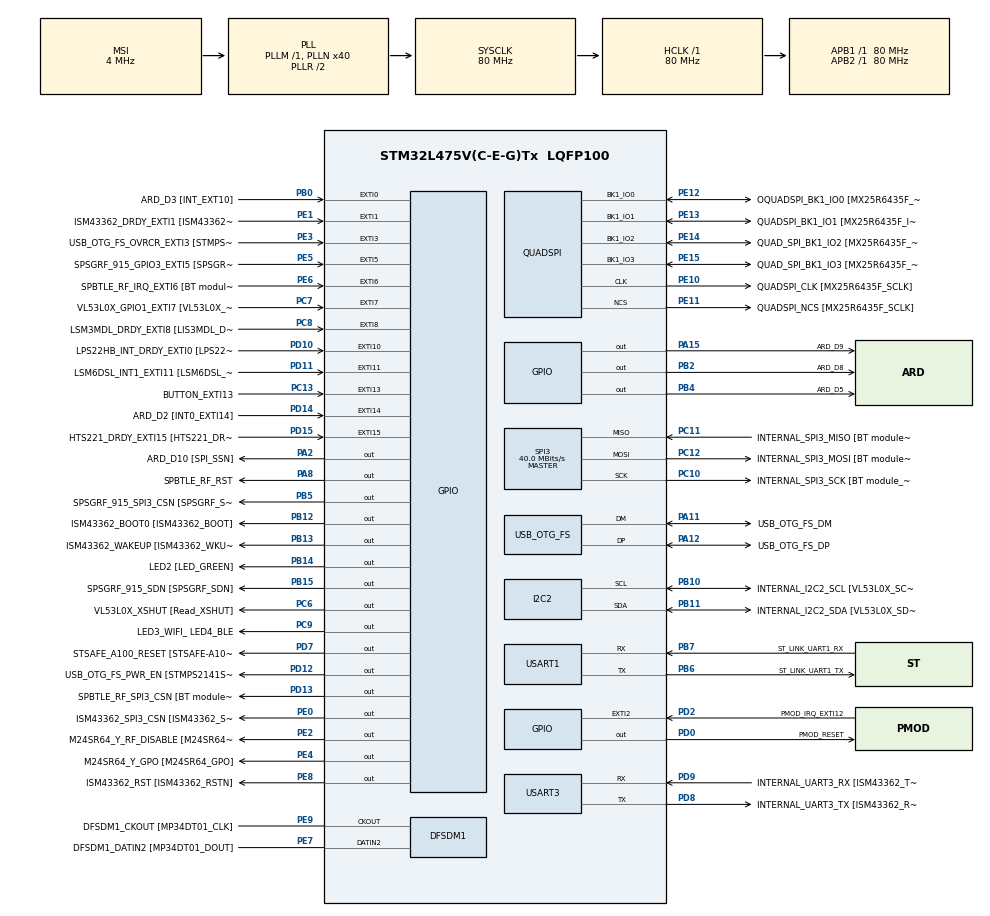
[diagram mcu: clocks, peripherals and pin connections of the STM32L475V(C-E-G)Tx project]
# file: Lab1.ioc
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FREERTOS.Tasks01=defaultTask,24,128,StartDefaultTask,Default,NULL,Dynamic,NULL,NULL;myTask02,24,128,StartTask02,Default,NULL,Dynamic,NULL,NULL
I2C2.Timing=0x10D19CE4
Mcu.Family=STM32L4
Mcu.Name=STM32L475V(C-E-G)Tx
Mcu.Package=LQFP100
NVIC.EXTI15_10_IRQn=true\:5\:0\:false\:false\:true\:true\:true\:true\:true
NVIC.EXTI9_5_IRQn=true\:5\:0\:false\:false\:true\:true\:true\:true\:true
NVIC.PriorityGroup=NVIC_PRIORITYGROUP_4
NVIC.TIM6_DAC_IRQn=true\:5\:0\:false\:false\:true\:true\:true\:true\:true
PA0.GPIO_Label=ARD_D1 [UART4_TX]
PA0.Signal=UART4_TX
PA1.GPIO_Label=ARD_D0 [UART4_RX]
PA1.Signal=UART4_RX
PA10.GPIO_Label=USB_OTG_FS_ID
PA10.Signal=USB_OTG_FS_ID
PA11.GPIO_Label=USB_OTG_FS_DM
PA11.Mode=Device_Only
PA11.Signal=USB_OTG_FS_DM
PA12.GPIO_Label=USB_OTG_FS_DP
PA12.Mode=Device_Only
PA12.Signal=USB_OTG_FS_DP
PA13\ (JTMS-SWDIO).GPIO_Label=SYS_JTMS_SWDIO
PA13\ (JTMS-SWDIO).Mode=Serial_Wire
PA13\ (JTMS-SWDIO).Signal=SYS_JTMS-SWDIO
PA14\ (JTCK-SWCLK).GPIO_Label=SYS_JTCK_SWCLK
PA14\ (JTCK-SWCLK).Mode=Serial_Wire
PA14\ (JTCK-SWCLK).Signal=SYS_JTCK-SWCLK
PA15\ (JTDI).GPIO_Label=ARD_D9
PA15\ (JTDI).Signal=GPIO_Output
PA2.GPIO_Label=ARD_D10 [SPI_SSN]
PA2.Signal=GPIO_Output
PA3.GPIO_Label=ARD_D4
PA3.Signal=S_TIM2_CH4
PA4.GPIO_Label=ARD_D7
PA4.Signal=ADCx_IN9
PA5.GPIO_Label=ARD_D13 [SPI1_SCK]
PA5.Signal=SPI1_SCK
PA6.GPIO_Label=ARD_D12 [SPI1_MISO]
PA6.Signal=SPI1_MISO
PA7.GPIO_Label=ARD_D11 [SPI1_MOSI]
PA7.Signal=SPI1_MOSI
PA8.GPIO_Label=SPBTLE_RF_RST
PA8.Signal=GPIO_Output
PA9.GPIO_Label=USB_OTG_FS_VBUS [STMPS2141STR_OUT]
PA9.Signal=USB_OTG_FS_VBUS
PB0.GPIO_Label=ARD_D3 [INT_EXT10]
PB0.Signal=GPXTI0
PB1.GPIO_Label=ARD_D6 [ADC1_IN6]
PB1.Signal=ADCx_IN16
PB10.GPIO_Label=INTERNAL_I2C2_SCL [VL53L0X_SCL]
PB10.GPIO_Pu=GPIO_PULLUP
PB10.Mode=I2C
PB10.Signal=I2C2_SCL
PB11.GPIO_Label=INTERNAL_I2C2_SDA [VL53L0X_SDA]
PB11.GPIO_Pu=GPIO_PULLUP
PB11.Mode=I2C
PB11.Signal=I2C2_SDA
PB12.GPIO_Label=ISM43362_BOOT0 [ISM43362_BOOT]
PB12.Signal=GPIO_Output
PB13.GPIO_Label=ISM43362_WAKEUP [ISM43362_WKUP]
PB13.Signal=GPIO_Output
PB14.GPIO_Label=LED2 [LED_GREEN]
PB14.Signal=GPIO_Output
PB15.GPIO_Label=SPSGRF_915_SDN [SPSGRF_SDN]
PB15.Signal=GPIO_Output
PB2.GPIO_Label=ARD_D8
PB2.Signal=GPIO_Output
PB3\ (JTDO-TRACESWO).GPIO_Label=SYS_JTD0_SWO
PB3\ (JTDO-TRACESWO).Signal=SYS_JTDO-SWO
PB4\ (NJTRST).GPIO_Label=ARD_D5
PB4\ (NJTRST).Signal=GPIO_Output
PB5.GPIO_Label=SPSGRF_915_SPI3_CSN [SPSGRF_SPI_CS]
PB5.PinState=GPIO_PIN_SET
PB5.Signal=GPIO_Output
PB6.GPIO_Label=ST_LINK_UART1_TX
PB6.Mode=Asynchronous
PB6.Signal=USART1_TX
PB7.GPIO_Label=ST_LINK_UART1_RX
PB7.Mode=Asynchronous
PB7.Signal=USART1_RX
PB8.GPIO_Label=ARD_D15 [I2C1_SCL]
PB8.Signal=I2C1_SCL
PB9.GPIO_Label=ARD_D14 [I2C1_SDA]
PB9.Signal=I2C1_SDA
PC0.GPIO_Label=ARD_A5 [ADC]
PC0.Signal=ADCx_IN1
PC1.GPIO_Label=ARD_A4 [ADC]
PC1.Signal=ADCx_IN2
PC10.GPIO_Label=INTERNAL_SPI3_SCK [BT module_SPI_SCLK] [ISM43362_SCK]
PC10.Mode=Full_Duplex_Master
PC10.Signal=SPI3_SCK
PC11.GPIO_Label=INTERNAL_SPI3_MISO [BT module_SPI_MISO] [ISM43362_MISO]
PC11.Mode=Full_Duplex_Master
PC11.Signal=SPI3_MISO
PC12.GPIO_Label=INTERNAL_SPI3_MOSI [BT module_SPI_MOSI] [ISM43362_MOSI]
PC12.Mode=Full_Duplex_Master
PC12.Signal=SPI3_MOSI
PC13.GPIO_Label=BUTTON_EXTI13
PC13.GPIO_ModeDefaultEXTI=GPIO_MODE_IT_RISING_FALLING
PC13.Signal=GPXTI13
PC14-OSC32_IN\ (PC14).Mode=LSE-External-Oscillator
PC14-OSC32_IN\ (PC14).Signal=RCC_OSC32_IN
PC15-OSC32_OUT\ (PC15).Mode=LSE-External-Oscillator
PC15-OSC32_OUT\ (PC15).Signal=RCC_OSC32_OUT
PC2.GPIO_Label=ARD_A3 [ADC]
PC2.Signal=ADCx_IN3
PC3.GPIO_Label=ARD_A2 [ADC]
PC3.Signal=ADCx_IN4
PC4.GPIO_Label=ARD_A1 [ADC]
PC4.Signal=ADCx_IN13
PC5.GPIO_Label=ARD_A0 [ADC]
PC5.Signal=ADCx_IN14
PC6.GPIO_Label=VL53L0X_XSHUT [Read_XSHUT]
PC6.Signal=GPIO_Output
PC7.GPIO_Label=VL53L0X_GPIO1_EXTI7 [VL53L0X_GPIO1]
PC7.Signal=GPXTI7
PC8.GPIO_Label=LSM3MDL_DRDY_EXTI8 [LIS3MDL_DRDY]
PC8.Signal=GPXTI8
PC9.GPIO_Label=LED3_WIFI_ LED4_BLE
PC9.Signal=GPIO_Output
PD0.GPIO_Label=PMOD_RESET
PD0.Signal=GPIO_Output
PD1.GPIO_Label=PMOD_SPI2_SCK
PD1.Signal=SPI2_SCK
PD10.GPIO_Label=LPS22HB_INT_DRDY_EXTI0 [LPS22HB_INT_DRDY] 
PD10.Signal=GPXTI10
PD11.GPIO_Label=LSM6DSL_INT1_EXTI11 [LSM6DSL_INT1]
PD11.Signal=GPXTI11
PD12.GPIO_Label=USB_OTG_FS_PWR_EN [STMPS2141STR_EN]
PD12.Signal=GPIO_Output
PD13.GPIO_Label=SPBTLE_RF_SPI3_CSN [BT module_SPI_CS]
PD13.PinState=GPIO_PIN_SET
PD13.Signal=GPIO_Output
PD14.GPIO_Label=ARD_D2 [INT0_EXTI14]
PD14.Signal=GPXTI14
PD15.GPIO_Label=HTS221_DRDY_EXTI15 [HTS221_DRDY]
PD15.Signal=GPXTI15
PD2.GPIO_Label=PMOD_IRQ_EXTI12
PD2.Signal=GPXTI2
PD3.GPIO_Label=PMOD_UART2_CTS
PD3.Signal=USART2_CTS
PD4.GPIO_Label=PMOD_UART2_RTS
PD4.Signal=USART2_RTS
PD5.GPIO_Label=PMOD_UART2_TX
PD5.Signal=USART2_TX
PD6.GPIO_Label=PMOD_UART2_RX
PD6.Signal=USART2_RX
PD7.GPIO_Label=STSAFE_A100_RESET [STSAFE-A100_RESET]
PD7.Signal=GPIO_Output
PD8.GPIO_Label=INTERNAL_UART3_TX [ISM43362_RX]
PD8.Mode=Asynchronous
PD8.Signal=USART3_TX
PD9.GPIO_Label=INTERNAL_UART3_RX [ISM43362_TX]
PD9.Mode=Asynchronous
PD9.Signal=USART3_RX
PE0.GPIO_Label=ISM43362_SPI3_CSN [ISM43362_SSN]
PE0.PinState=GPIO_PIN_SET
PE0.Signal=GPIO_Output
PE1.GPIO_Label=ISM43362_DRDY_EXTI1 [ISM43362_DATARDY]
PE1.Signal=GPXTI1
PE10.GPIO_Label=QUADSPI_CLK [MX25R6435F_SCLK]
PE10.Mode=Single Bank
PE10.Signal=QUADSPI_CLK
PE11.GPIO_Label=QUADSPI_NCS [MX25R6435F_SCLK]
PE11.Mode=Single Bank
PE11.Signal=QUADSPI_NCS
PE12.GPIO_Label=OQUADSPI_BK1_IO0 [MX25R6435F_IO0]
PE12.Mode=Single Bank
PE12.Signal=QUADSPI_BK1_IO0
PE13.GPIO_Label=QUADSPI_BK1_IO1 [MX25R6435F_IO1]
PE13.Mode=Single Bank
PE13.Signal=QUADSPI_BK1_IO1
PE14.GPIO_Label=QUAD_SPI_BK1_IO2 [MX25R6435F_IO2]
PE14.Mode=Single Bank
PE14.Signal=QUADSPI_BK1_IO2
PE15.GPIO_Label=QUAD_SPI_BK1_IO3 [MX25R6435F_IO3]
PE15.Mode=Single Bank
PE15.Signal=QUADSPI_BK1_IO3
PE2.GPIO_Label=M24SR64_Y_RF_DISABLE [M24SR64_RFDIS]
PE2.Signal=GPIO_Output
PE3.GPIO_Label=USB_OTG_FS_OVRCR_EXTI3 [STMPS2141STR_FAULT]
PE3.Signal=GPXTI3
PE4.GPIO_Label=M24SR64_Y_GPO [M24SR64_GPO]
PE4.Signal=GPIO_Output
PE5.GPIO_Label=SPSGRF_915_GPIO3_EXTI5 [SPSGRF_GPIO_3]
PE5.Signal=GPXTI5
PE6.GPIO_Label=SPBTLE_RF_IRQ_EXTI6 [BT module_SPI_IRQ]
PE6.Signal=GPXTI6
PE7.GPIO_Label=DFSDM1_DATIN2 [MP34DT01_DOUT]
PE7.Signal=S_DATAIN2DFSDM1
PE8.GPIO_Label=ISM43362_RST [ISM43362_RSTN]
PE8.Signal=GPIO_Output
PE9.GPIO_Label=DFSDM1_CKOUT [MP34DT01_CLK]
PE9.Signal=S_CKOUTDFSDM1
ProjectManager.HeapSize=0x200
ProjectManager.StackSize=0x400
ProjectManager.TargetToolchain=STM32CubeIDE
QUADSPI.ClockPrescaler=2
QUADSPI.FifoThreshold=4
QUADSPI.FlashSize=23
QUADSPI.SampleShifting=QSPI_SAMPLE_SHIFTING_HALFCYCLE
RCC.ADCFreq_Value=48000000
RCC.AHBFreq_Value=80000000
RCC.APB1Freq_Value=80000000
RCC.APB1TimFreq_Value=80000000
RCC.APB2Freq_Value=80000000
RCC.APB2TimFreq_Value=80000000
RCC.CortexFreq_Value=80000000
RCC.HCLKFreq_Value=80000000
RCC.HSE_VALUE=8000000
RCC.HSI_VALUE=16000000
RCC.MSI_VALUE=4000000
RCC.PLLN=40
RCC.PLLSAI1N=24
RCC.SYSCLKFreq_VALUE=80000000
RCC.SYSCLKSource=RCC_SYSCLKSOURCE_PLLCLK
RCC.USBFreq_Value=48000000
RCC.VCOOutputFreq_Value=160000000
SH.ADCx_IN1.0=ADC1_IN1
SH.ADCx_IN13.0=ADC1_IN13
SH.ADCx_IN14.0=ADC1_IN14
SH.ADCx_IN16.0=ADC1_IN16
SH.ADCx_IN2.0=ADC1_IN2
SH.ADCx_IN3.0=ADC1_IN3
SH.ADCx_IN4.0=ADC1_IN4
SH.ADCx_IN9.0=ADC1_IN9
SH.S_CKOUTDFSDM1.0=DFSDM1_CKOUT,CKOUT
SH.S_CKOUTDFSDM1.1=DFSDM1_CKOUT,PDM_SPI_Input_from_ch12_and_Internal_Clock
SH.S_DATAIN2DFSDM1.0=DFSDM1_DATIN2,PDM_SPI_Input_from_ch12_and_Internal_Clock
SH.S_TIM2_CH4.0=TIM2_CH4
SPI3.CalculateBaudRate=40.0 MBits/s
SPI3.Direction=SPI_DIRECTION_2LINES
SPI3.Mode=SPI_MODE_MASTER
SPI3.VirtualType=VM_MASTER
TIM6.AutoReloadPreload=TIM_AUTORELOAD_PRELOAD_ENABLE
TIM6.Period=19999
TIM6.Prescaler=39999
USART1.VirtualMode-Asynchronous=VM_ASYNC
USART3.VirtualMode-Asynchronous=VM_ASYNC
USB_OTG_FS.VirtualMode=Device_Only
VP_FREERTOS_VS_CMSIS_V2.Mode=CMSIS_V2
VP_TIM6_VS_ClockSourceINT.Mode=Enable_Timer
board=B-L475E-IOT01A2

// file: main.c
/* USER CODE BEGIN Header */
/**
  ******************************************************************************
  * @file           : main.c
  * @brief          : Main program body
  ******************************************************************************
  * @attention
  *
  * Copyright (c) 2024 STMicroelectronics.
  * All rights reserved.
  *
  * This software is licensed under terms that can be found in the LICENSE file
  * in the root directory of this software component.
  * If no LICENSE file comes with this software, it is provided AS-IS.
  *
  ******************************************************************************
  */
/* USER CODE END Header */
#include "main.h"
#include "cmsis_os.h"

DFSDM_Channel_HandleTypeDef hdfsdm1_channel1;

I2C_HandleTypeDef hi2c2;

QSPI_HandleTypeDef hqspi;

SPI_HandleTypeDef hspi3;

TIM_HandleTypeDef htim6;

UART_HandleTypeDef huart1;
UART_HandleTypeDef huart3;

PCD_HandleTypeDef hpcd_USB_OTG_FS;

/* Definitions for defaultTask */
osThreadId_t defaultTaskHandle;
const osThreadAttr_t defaultTask_attributes = {
  .name = "defaultTask",
  .stack_size = 128 * 4,
  .priority = (osPriority_t) osPriorityNormal,
};
/* Definitions for myTask02 */
osThreadId_t myTask02Handle;
const osThreadAttr_t myTask02_attributes = {
  .name = "myTask02",
  .stack_size = 128 * 4,
  .priority = (osPriority_t) osPriorityNormal,
};
/* USER CODE BEGIN PV */
osSemaphoreId s_id, t_id, s2_id, wait_id;
osMutexId_t m_id;
/* USER CODE END PV */

void SystemClock_Config(void);
static void MX_GPIO_Init(void);
static void MX_DFSDM1_Init(void);
static void MX_I2C2_Init(void);
static void MX_QUADSPI_Init(void);
static void MX_SPI3_Init(void);
static void MX_USART1_UART_Init(void);
static void MX_USART3_UART_Init(void);
static void MX_USB_OTG_FS_PCD_Init(void);
static void MX_TIM6_Init(void);
void StartDefaultTask(void *argument);
void StartTask02(void *argument);

int main(void)
{

  /* MCU Configuration--------------------------------------------------------*/

  /* Reset of all peripherals, Initializes the Flash interface and the Systick. */
  HAL_Init();

  /* Configure the system clock */
  SystemClock_Config();

  /* Initialize all configured peripherals */
  MX_GPIO_Init();
  MX_DFSDM1_Init();
  MX_I2C2_Init();
  MX_QUADSPI_Init();
  MX_SPI3_Init();
  MX_USART1_UART_Init();
  MX_USART3_UART_Init();
  MX_USB_OTG_FS_PCD_Init();
  MX_TIM6_Init();

  /* Init scheduler */
  osKernelInitialize();

  /* USER CODE BEGIN RTOS_MUTEX */
  /* add mutexes, ... */
  m_id = osMutexNew(NULL);
  /* USER CODE END RTOS_MUTEX */

  /* USER CODE BEGIN RTOS_SEMAPHORES */
  /* add semaphores, ... */
  s_id = osSemaphoreNew(1,0,NULL);
  t_id = osSemaphoreNew(1,0,NULL);
  s2_id = osSemaphoreNew(1,0,NULL);
  /* USER CODE END RTOS_SEMAPHORES */

  /* Create the thread(s) */
  /* creation of defaultTask */
  defaultTaskHandle = osThreadNew(StartDefaultTask, NULL, &defaultTask_attributes);

  /* creation of myTask02 */
  myTask02Handle = osThreadNew(StartTask02, NULL, &myTask02_attributes);

  /* Start scheduler */
  osKernelStart();

  /* We should never get here as control is now taken by the scheduler */

  /* Infinite loop */
  while (1)
  {

  }
}

void SystemClock_Config(void)
{
  RCC_OscInitTypeDef RCC_OscInitStruct = {0};
  RCC_ClkInitTypeDef RCC_ClkInitStruct = {0};

  /** Configure the main internal regulator output voltage
  */
  if (HAL_PWREx_ControlVoltageScaling(PWR_REGULATOR_VOLTAGE_SCALE1) != HAL_OK)
  {
    Error_Handler();
  }

  /** Configure LSE Drive Capability
  */
  HAL_PWR_EnableBkUpAccess();
  __HAL_RCC_LSEDRIVE_CONFIG(RCC_LSEDRIVE_LOW);

  /** Initializes the RCC Oscillators according to the specified parameters
  * in the RCC_OscInitTypeDef structure.
  */
  RCC_OscInitStruct.OscillatorType = RCC_OSCILLATORTYPE_LSE|RCC_OSCILLATORTYPE_MSI;
  RCC_OscInitStruct.LSEState = RCC_LSE_ON;
  RCC_OscInitStruct.MSIState = RCC_MSI_ON;
  RCC_OscInitStruct.MSICalibrationValue = 0;
  RCC_OscInitStruct.MSIClockRange = RCC_MSIRANGE_6;
  RCC_OscInitStruct.PLL.PLLState = RCC_PLL_ON;
  RCC_OscInitStruct.PLL.PLLSource = RCC_PLLSOURCE_MSI;
  RCC_OscInitStruct.PLL.PLLM = 1;
  RCC_OscInitStruct.PLL.PLLN = 40;
  RCC_OscInitStruct.PLL.PLLP = RCC_PLLP_DIV7;
  RCC_OscInitStruct.PLL.PLLQ = RCC_PLLQ_DIV2;
  RCC_OscInitStruct.PLL.PLLR = RCC_PLLR_DIV2;
  if (HAL_RCC_OscConfig(&RCC_OscInitStruct) != HAL_OK)
  {
    Error_Handler();
  }

  /** Initializes the CPU, AHB and APB buses clocks
  */
  RCC_ClkInitStruct.ClockType = RCC_CLOCKTYPE_HCLK|RCC_CLOCKTYPE_SYSCLK
                              |RCC_CLOCKTYPE_PCLK1|RCC_CLOCKTYPE_PCLK2;
  RCC_ClkInitStruct.SYSCLKSource = RCC_SYSCLKSOURCE_PLLCLK;
  RCC_ClkInitStruct.AHBCLKDivider = RCC_SYSCLK_DIV1;
  RCC_ClkInitStruct.APB1CLKDivider = RCC_HCLK_DIV1;
  RCC_ClkInitStruct.APB2CLKDivider = RCC_HCLK_DIV1;

  if (HAL_RCC_ClockConfig(&RCC_ClkInitStruct, FLASH_LATENCY_4) != HAL_OK)
  {
    Error_Handler();
  }

  /** Enable MSI Auto calibration
  */
  HAL_RCCEx_EnableMSIPLLMode();
}

static void MX_DFSDM1_Init(void)
{

  hdfsdm1_channel1.Instance = DFSDM1_Channel1;
  hdfsdm1_channel1.Init.OutputClock.Activation = ENABLE;
  hdfsdm1_channel1.Init.OutputClock.Selection = DFSDM_CHANNEL_OUTPUT_CLOCK_SYSTEM;
  hdfsdm1_channel1.Init.OutputClock.Divider = 2;
  hdfsdm1_channel1.Init.Input.Multiplexer = DFSDM_CHANNEL_EXTERNAL_INPUTS;
  hdfsdm1_channel1.Init.Input.DataPacking = DFSDM_CHANNEL_STANDARD_MODE;
  hdfsdm1_channel1.Init.Input.Pins = DFSDM_CHANNEL_FOLLOWING_CHANNEL_PINS;
  hdfsdm1_channel1.Init.SerialInterface.Type = DFSDM_CHANNEL_SPI_RISING;
  hdfsdm1_channel1.Init.SerialInterface.SpiClock = DFSDM_CHANNEL_SPI_CLOCK_INTERNAL;
  hdfsdm1_channel1.Init.Awd.FilterOrder = DFSDM_CHANNEL_FASTSINC_ORDER;
  hdfsdm1_channel1.Init.Awd.Oversampling = 1;
  hdfsdm1_channel1.Init.Offset = 0;
  hdfsdm1_channel1.Init.RightBitShift = 0x00;
  if (HAL_DFSDM_ChannelInit(&hdfsdm1_channel1) != HAL_OK)
  {
    Error_Handler();
  }

}

static void MX_I2C2_Init(void)
{

  hi2c2.Instance = I2C2;
  hi2c2.Init.Timing = 0x10D19CE4;
  hi2c2.Init.OwnAddress1 = 0;
  hi2c2.Init.AddressingMode = I2C_ADDRESSINGMODE_7BIT;
  hi2c2.Init.DualAddressMode = I2C_DUALADDRESS_DISABLE;
  hi2c2.Init.OwnAddress2 = 0;
  hi2c2.Init.OwnAddress2Masks = I2C_OA2_NOMASK;
  hi2c2.Init.GeneralCallMode = I2C_GENERALCALL_DISABLE;
  hi2c2.Init.NoStretchMode = I2C_NOSTRETCH_DISABLE;
  if (HAL_I2C_Init(&hi2c2) != HAL_OK)
  {
    Error_Handler();
  }

  /** Configure Analogue filter
  */
  if (HAL_I2CEx_ConfigAnalogFilter(&hi2c2, I2C_ANALOGFILTER_ENABLE) != HAL_OK)
  {
    Error_Handler();
  }

  /** Configure Digital filter
  */
  if (HAL_I2CEx_ConfigDigitalFilter(&hi2c2, 0) != HAL_OK)
  {
    Error_Handler();
  }

}

static void MX_QUADSPI_Init(void)
{

  /* QUADSPI parameter configuration*/
  hqspi.Instance = QUADSPI;
  hqspi.Init.ClockPrescaler = 2;
  hqspi.Init.FifoThreshold = 4;
  hqspi.Init.SampleShifting = QSPI_SAMPLE_SHIFTING_HALFCYCLE;
  hqspi.Init.FlashSize = 23;
  hqspi.Init.ChipSelectHighTime = QSPI_CS_HIGH_TIME_1_CYCLE;
  hqspi.Init.ClockMode = QSPI_CLOCK_MODE_0;
  if (HAL_QSPI_Init(&hqspi) != HAL_OK)
  {
    Error_Handler();
  }

}

static void MX_SPI3_Init(void)
{

  /* SPI3 parameter configuration*/
  hspi3.Instance = SPI3;
  hspi3.Init.Mode = SPI_MODE_MASTER;
  hspi3.Init.Direction = SPI_DIRECTION_2LINES;
  hspi3.Init.DataSize = SPI_DATASIZE_4BIT;
  hspi3.Init.CLKPolarity = SPI_POLARITY_LOW;
  hspi3.Init.CLKPhase = SPI_PHASE_1EDGE;
  hspi3.Init.NSS = SPI_NSS_SOFT;
  hspi3.Init.BaudRatePrescaler = SPI_BAUDRATEPRESCALER_2;
  hspi3.Init.FirstBit = SPI_FIRSTBIT_MSB;
  hspi3.Init.TIMode = SPI_TIMODE_DISABLE;
  hspi3.Init.CRCCalculation = SPI_CRCCALCULATION_DISABLE;
  hspi3.Init.CRCPolynomial = 7;
  hspi3.Init.CRCLength = SPI_CRC_LENGTH_DATASIZE;
  hspi3.Init.NSSPMode = SPI_NSS_PULSE_ENABLE;
  if (HAL_SPI_Init(&hspi3) != HAL_OK)
  {
    Error_Handler();
  }

}

static void MX_TIM6_Init(void)
{

  TIM_MasterConfigTypeDef sMasterConfig = {0};

  htim6.Instance = TIM6;
  htim6.Init.Prescaler = 39999;
  htim6.Init.CounterMode = TIM_COUNTERMODE_UP;
  htim6.Init.Period = 19999;
  htim6.Init.AutoReloadPreload = TIM_AUTORELOAD_PRELOAD_ENABLE;
  if (HAL_TIM_Base_Init(&htim6) != HAL_OK)
  {
    Error_Handler();
  }
  sMasterConfig.MasterOutputTrigger = TIM_TRGO_RESET;
  sMasterConfig.MasterSlaveMode = TIM_MASTERSLAVEMODE_DISABLE;
  if (HAL_TIMEx_MasterConfigSynchronization(&htim6, &sMasterConfig) != HAL_OK)
  {
    Error_Handler();
  }
  /* USER CODE BEGIN TIM6_Init 2 */
  HAL_TIM_Base_Start_IT(&htim6);
  /* USER CODE END TIM6_Init 2 */

}

static void MX_USART1_UART_Init(void)
{

  huart1.Instance = USART1;
  huart1.Init.BaudRate = 115200;
  huart1.Init.WordLength = UART_WORDLENGTH_8B;
  huart1.Init.StopBits = UART_STOPBITS_1;
  huart1.Init.Parity = UART_PARITY_NONE;
  huart1.Init.Mode = UART_MODE_TX_RX;
  huart1.Init.HwFlowCtl = UART_HWCONTROL_NONE;
  huart1.Init.OverSampling = UART_OVERSAMPLING_16;
  huart1.Init.OneBitSampling = UART_ONE_BIT_SAMPLE_DISABLE;
  huart1.AdvancedInit.AdvFeatureInit = UART_ADVFEATURE_NO_INIT;
  if (HAL_UART_Init(&huart1) != HAL_OK)
  {
    Error_Handler();
  }

}

static void MX_USART3_UART_Init(void)
{

  huart3.Instance = USART3;
  huart3.Init.BaudRate = 115200;
  huart3.Init.WordLength = UART_WORDLENGTH_8B;
  huart3.Init.StopBits = UART_STOPBITS_1;
  huart3.Init.Parity = UART_PARITY_NONE;
  huart3.Init.Mode = UART_MODE_TX_RX;
  huart3.Init.HwFlowCtl = UART_HWCONTROL_NONE;
  huart3.Init.OverSampling = UART_OVERSAMPLING_16;
  huart3.Init.OneBitSampling = UART_ONE_BIT_SAMPLE_DISABLE;
  huart3.AdvancedInit.AdvFeatureInit = UART_ADVFEATURE_NO_INIT;
  if (HAL_UART_Init(&huart3) != HAL_OK)
  {
    Error_Handler();
  }

}

static void MX_USB_OTG_FS_PCD_Init(void)
{

  hpcd_USB_OTG_FS.Instance = USB_OTG_FS;
  hpcd_USB_OTG_FS.Init.dev_endpoints = 6;
  hpcd_USB_OTG_FS.Init.speed = PCD_SPEED_FULL;
  hpcd_USB_OTG_FS.Init.phy_itface = PCD_PHY_EMBEDDED;
  hpcd_USB_OTG_FS.Init.Sof_enable = DISABLE;
  hpcd_USB_OTG_FS.Init.low_power_enable = DISABLE;
  hpcd_USB_OTG_FS.Init.lpm_enable = DISABLE;
  hpcd_USB_OTG_FS.Init.battery_charging_enable = DISABLE;
  hpcd_USB_OTG_FS.Init.use_dedicated_ep1 = DISABLE;
  hpcd_USB_OTG_FS.Init.vbus_sensing_enable = DISABLE;
  if (HAL_PCD_Init(&hpcd_USB_OTG_FS) != HAL_OK)
  {
    Error_Handler();
  }

}

static void MX_GPIO_Init(void)
{
  GPIO_InitTypeDef GPIO_InitStruct = {0};

  /* GPIO Ports Clock Enable */
  __HAL_RCC_GPIOE_CLK_ENABLE();
  __HAL_RCC_GPIOC_CLK_ENABLE();
  __HAL_RCC_GPIOA_CLK_ENABLE();
  __HAL_RCC_GPIOB_CLK_ENABLE();
  __HAL_RCC_GPIOD_CLK_ENABLE();

  /*Configure GPIO pin Output Level */
  HAL_GPIO_WritePin(GPIOE, M24SR64_Y_RF_DISABLE_Pin|M24SR64_Y_GPO_Pin|ISM43362_RST_Pin, GPIO_PIN_RESET);

  /*Configure GPIO pin Output Level */
  HAL_GPIO_WritePin(GPIOA, ARD_D10_Pin|SPBTLE_RF_RST_Pin|ARD_D9_Pin, GPIO_PIN_RESET);

  /*Configure GPIO pin Output Level */
  HAL_GPIO_WritePin(GPIOB, ARD_D8_Pin|ISM43362_BOOT0_Pin|ISM43362_WAKEUP_Pin|LED2_Pin
                          |SPSGRF_915_SDN_Pin|ARD_D5_Pin, GPIO_PIN_RESET);

  /*Configure GPIO pin Output Level */
  HAL_GPIO_WritePin(GPIOD, USB_OTG_FS_PWR_EN_Pin|PMOD_RESET_Pin|STSAFE_A100_RESET_Pin, GPIO_PIN_RESET);

  /*Configure GPIO pin Output Level */
  HAL_GPIO_WritePin(SPBTLE_RF_SPI3_CSN_GPIO_Port, SPBTLE_RF_SPI3_CSN_Pin, GPIO_PIN_SET);

  /*Configure GPIO pin Output Level */
  HAL_GPIO_WritePin(GPIOC, VL53L0X_XSHUT_Pin|LED3_WIFI__LED4_BLE_Pin, GPIO_PIN_RESET);

  /*Configure GPIO pin Output Level */
  HAL_GPIO_WritePin(SPSGRF_915_SPI3_CSN_GPIO_Port, SPSGRF_915_SPI3_CSN_Pin, GPIO_PIN_SET);

  /*Configure GPIO pin Output Level */
  HAL_GPIO_WritePin(ISM43362_SPI3_CSN_GPIO_Port, ISM43362_SPI3_CSN_Pin, GPIO_PIN_SET);

  /*Configure GPIO pins : M24SR64_Y_RF_DISABLE_Pin M24SR64_Y_GPO_Pin ISM43362_RST_Pin ISM43362_SPI3_CSN_Pin */
  GPIO_InitStruct.Pin = M24SR64_Y_RF_DISABLE_Pin|M24SR64_Y_GPO_Pin|ISM43362_RST_Pin|ISM43362_SPI3_CSN_Pin;
  GPIO_InitStruct.Mode = GPIO_MODE_OUTPUT_PP;
  GPIO_InitStruct.Pull = GPIO_NOPULL;
  GPIO_InitStruct.Speed = GPIO_SPEED_FREQ_LOW;
  HAL_GPIO_Init(GPIOE, &GPIO_InitStruct);

  /*Configure GPIO pins : USB_OTG_FS_OVRCR_EXTI3_Pin SPSGRF_915_GPIO3_EXTI5_Pin SPBTLE_RF_IRQ_EXTI6_Pin ISM43362_DRDY_EXTI1_Pin */
  GPIO_InitStruct.Pin = USB_OTG_FS_OVRCR_EXTI3_Pin|SPSGRF_915_GPIO3_EXTI5_Pin|SPBTLE_RF_IRQ_EXTI6_Pin|ISM43362_DRDY_EXTI1_Pin;
  GPIO_InitStruct.Mode = GPIO_MODE_IT_RISING;
  GPIO_InitStruct.Pull = GPIO_NOPULL;
  HAL_GPIO_Init(GPIOE, &GPIO_InitStruct);

  /*Configure GPIO pin : BUTTON_EXTI13_Pin */
  GPIO_InitStruct.Pin = BUTTON_EXTI13_Pin;
  GPIO_InitStruct.Mode = GPIO_MODE_IT_RISING_FALLING;
  GPIO_InitStruct.Pull = GPIO_NOPULL;
  HAL_GPIO_Init(BUTTON_EXTI13_GPIO_Port, &GPIO_InitStruct);

  /*Configure GPIO pins : ARD_A5_Pin ARD_A4_Pin ARD_A3_Pin ARD_A2_Pin
                           ARD_A1_Pin ARD_A0_Pin */
  GPIO_InitStruct.Pin = ARD_A5_Pin|ARD_A4_Pin|ARD_A3_Pin|ARD_A2_Pin
                          |ARD_A1_Pin|ARD_A0_Pin;
  GPIO_InitStruct.Mode = GPIO_MODE_ANALOG_ADC_CONTROL;
  GPIO_InitStruct.Pull = GPIO_NOPULL;
  HAL_GPIO_Init(GPIOC, &GPIO_InitStruct);

  /*Configure GPIO pins : ARD_D1_Pin ARD_D0_Pin */
  GPIO_InitStruct.Pin = ARD_D1_Pin|ARD_D0_Pin;
  GPIO_InitStruct.Mode = GPIO_MODE_AF_PP;
  GPIO_InitStruct.Pull = GPIO_NOPULL;
  GPIO_InitStruct.Speed = GPIO_SPEED_FREQ_VERY_HIGH;
  GPIO_InitStruct.Alternate = GPIO_AF8_UART4;
  HAL_GPIO_Init(GPIOA, &GPIO_InitStruct);

  /*Configure GPIO pins : ARD_D10_Pin SPBTLE_RF_RST_Pin ARD_D9_Pin */
  GPIO_InitStruct.Pin = ARD_D10_Pin|SPBTLE_RF_RST_Pin|ARD_D9_Pin;
  GPIO_InitStruct.Mode = GPIO_MODE_OUTPUT_PP;
  GPIO_InitStruct.Pull = GPIO_NOPULL;
  GPIO_InitStruct.Speed = GPIO_SPEED_FREQ_LOW;
  HAL_GPIO_Init(GPIOA, &GPIO_InitStruct);

  /*Configure GPIO pin : ARD_D4_Pin */
  GPIO_InitStruct.Pin = ARD_D4_Pin;
  GPIO_InitStruct.Mode = GPIO_MODE_AF_PP;
  GPIO_InitStruct.Pull = GPIO_NOPULL;
  GPIO_InitStruct.Speed = GPIO_SPEED_FREQ_LOW;
  GPIO_InitStruct.Alternate = GPIO_AF1_TIM2;
  HAL_GPIO_Init(ARD_D4_GPIO_Port, &GPIO_InitStruct);

  /*Configure GPIO pin : ARD_D7_Pin */
  GPIO_InitStruct.Pin = ARD_D7_Pin;
  GPIO_InitStruct.Mode = GPIO_MODE_ANALOG_ADC_CONTROL;
  GPIO_InitStruct.Pull = GPIO_NOPULL;
  HAL_GPIO_Init(ARD_D7_GPIO_Port, &GPIO_InitStruct);

  /*Configure GPIO pins : ARD_D13_Pin ARD_D12_Pin ARD_D11_Pin */
  GPIO_InitStruct.Pin = ARD_D13_Pin|ARD_D12_Pin|ARD_D11_Pin;
  GPIO_InitStruct.Mode = GPIO_MODE_AF_PP;
  GPIO_InitStruct.Pull = GPIO_NOPULL;
  GPIO_InitStruct.Speed = GPIO_SPEED_FREQ_VERY_HIGH;
  GPIO_InitStruct.Alternate = GPIO_AF5_SPI1;
  HAL_GPIO_Init(GPIOA, &GPIO_InitStruct);

  /*Configure GPIO pin : ARD_D3_Pin */
  GPIO_InitStruct.Pin = ARD_D3_Pin;
  GPIO_InitStruct.Mode = GPIO_MODE_IT_RISING;
  GPIO_InitStruct.Pull = GPIO_NOPULL;
  HAL_GPIO_Init(ARD_D3_GPIO_Port, &GPIO_InitStruct);

  /*Configure GPIO pin : ARD_D6_Pin */
  GPIO_InitStruct.Pin = ARD_D6_Pin;
  GPIO_InitStruct.Mode = GPIO_MODE_ANALOG_ADC_CONTROL;
  GPIO_InitStruct.Pull = GPIO_NOPULL;
  HAL_GPIO_Init(ARD_D6_GPIO_Port, &GPIO_InitStruct);

  /*Configure GPIO pins : ARD_D8_Pin ISM43362_BOOT0_Pin ISM43362_WAKEUP_Pin LED2_Pin
                           SPSGRF_915_SDN_Pin ARD_D5_Pin SPSGRF_915_SPI3_CSN_Pin */
  GPIO_InitStruct.Pin = ARD_D8_Pin|ISM43362_BOOT0_Pin|ISM43362_WAKEUP_Pin|LED2_Pin
                          |SPSGRF_915_SDN_Pin|ARD_D5_Pin|SPSGRF_915_SPI3_CSN_Pin;
  GPIO_InitStruct.Mode = GPIO_MODE_OUTPUT_PP;
  GPIO_InitStruct.Pull = GPIO_NOPULL;
  GPIO_InitStruct.Speed = GPIO_SPEED_FREQ_LOW;
  HAL_GPIO_Init(GPIOB, &GPIO_InitStruct);

  /*Configure GPIO pins : LPS22HB_INT_DRDY_EXTI0_Pin LSM6DSL_INT1_EXTI11_Pin ARD_D2_Pin HTS221_DRDY_EXTI15_Pin
                           PMOD_IRQ_EXTI12_Pin */
  GPIO_InitStruct.Pin = LPS22HB_INT_DRDY_EXTI0_Pin|LSM6DSL_INT1_EXTI11_Pin|ARD_D2_Pin|HTS221_DRDY_EXTI15_Pin
                          |PMOD_IRQ_EXTI12_Pin;
  GPIO_InitStruct.Mode = GPIO_MODE_IT_RISING;
  GPIO_InitStruct.Pull = GPIO_NOPULL;
  HAL_GPIO_Init(GPIOD, &GPIO_InitStruct);

  /*Configure GPIO pins : USB_OTG_FS_PWR_EN_Pin SPBTLE_RF_SPI3_CSN_Pin PMOD_RESET_Pin STSAFE_A100_RESET_Pin */
  GPIO_InitStruct.Pin = USB_OTG_FS_PWR_EN_Pin|SPBTLE_RF_SPI3_CSN_Pin|PMOD_RESET_Pin|STSAFE_A100_RESET_Pin;
  GPIO_InitStruct.Mode = GPIO_MODE_OUTPUT_PP;
  GPIO_InitStruct.Pull = GPIO_NOPULL;
  GPIO_InitStruct.Speed = GPIO_SPEED_FREQ_LOW;
  HAL_GPIO_Init(GPIOD, &GPIO_InitStruct);

  /*Configure GPIO pins : VL53L0X_XSHUT_Pin LED3_WIFI__LED4_BLE_Pin */
  GPIO_InitStruct.Pin = VL53L0X_XSHUT_Pin|LED3_WIFI__LED4_BLE_Pin;
  GPIO_InitStruct.Mode = GPIO_MODE_OUTPUT_PP;
  GPIO_InitStruct.Pull = GPIO_NOPULL;
  GPIO_InitStruct.Speed = GPIO_SPEED_FREQ_LOW;
  HAL_GPIO_Init(GPIOC, &GPIO_InitStruct);

  /*Configure GPIO pins : VL53L0X_GPIO1_EXTI7_Pin LSM3MDL_DRDY_EXTI8_Pin */
  GPIO_InitStruct.Pin = VL53L0X_GPIO1_EXTI7_Pin|LSM3MDL_DRDY_EXTI8_Pin;
  GPIO_InitStruct.Mode = GPIO_MODE_IT_RISING;
  GPIO_InitStruct.Pull = GPIO_NOPULL;
  HAL_GPIO_Init(GPIOC, &GPIO_InitStruct);

  /*Configure GPIO pin : PMOD_SPI2_SCK_Pin */
  GPIO_InitStruct.Pin = PMOD_SPI2_SCK_Pin;
  GPIO_InitStruct.Mode = GPIO_MODE_AF_PP;
  GPIO_InitStruct.Pull = GPIO_NOPULL;
  GPIO_InitStruct.Speed = GPIO_SPEED_FREQ_VERY_HIGH;
  GPIO_InitStruct.Alternate = GPIO_AF5_SPI2;
  HAL_GPIO_Init(PMOD_SPI2_SCK_GPIO_Port, &GPIO_InitStruct);

  /*Configure GPIO pins : PMOD_UART2_CTS_Pin PMOD_UART2_RTS_Pin PMOD_UART2_TX_Pin PMOD_UART2_RX_Pin */
  GPIO_InitStruct.Pin = PMOD_UART2_CTS_Pin|PMOD_UART2_RTS_Pin|PMOD_UART2_TX_Pin|PMOD_UART2_RX_Pin;
  GPIO_InitStruct.Mode = GPIO_MODE_AF_PP;
  GPIO_InitStruct.Pull = GPIO_NOPULL;
  GPIO_InitStruct.Speed = GPIO_SPEED_FREQ_VERY_HIGH;
  GPIO_InitStruct.Alternate = GPIO_AF7_USART2;
  HAL_GPIO_Init(GPIOD, &GPIO_InitStruct);

  /*Configure GPIO pins : ARD_D15_Pin ARD_D14_Pin */
  GPIO_InitStruct.Pin = ARD_D15_Pin|ARD_D14_Pin;
  GPIO_InitStruct.Mode = GPIO_MODE_AF_OD;
  GPIO_InitStruct.Pull = GPIO_NOPULL;
  GPIO_InitStruct.Speed = GPIO_SPEED_FREQ_VERY_HIGH;
  GPIO_InitStruct.Alternate = GPIO_AF4_I2C1;
  HAL_GPIO_Init(GPIOB, &GPIO_InitStruct);

  /* EXTI interrupt init*/
  HAL_NVIC_SetPriority(EXTI9_5_IRQn, 5, 0);
  HAL_NVIC_EnableIRQ(EXTI9_5_IRQn);

  HAL_NVIC_SetPriority(EXTI15_10_IRQn, 5, 0);
  HAL_NVIC_EnableIRQ(EXTI15_10_IRQn);

}

/* USER CODE BEGIN 4 */

void HAL_GPIO_EXTI_Callback(uint16_t GPIO_Pin)
{
	static uint32_t pressTime = 0;

	switch (GPIO_Pin)
	{
	case BUTTON_EXTI13_Pin:
		if (HAL_GPIO_ReadPin(GPIOC, BUTTON_EXTI13_Pin) == GPIO_PIN_RESET) {
			pressTime = HAL_GetTick();  // Record the time when the button is pressed
		}
		else {
			uint32_t releaseTime = HAL_GetTick();
			uint32_t pressDuration = releaseTime - pressTime;

			if (pressDuration >= 1000) {
				// Long press detected
				osSemaphoreRelease(s2_id);
			} else {
				// Short press detected
				osSemaphoreRelease(s_id);
			}
		}
		break;

	default:
		break;
	}
}

void HAL_TIM_PeriodElapsedCallback(TIM_HandleTypeDef *htim){
	if(htim->Instance == TIM6){
		osSemaphoreRelease(t_id);
	}
}

/* USER CODE END 4 */

void StartDefaultTask(void *argument)
{
  /* USER CODE BEGIN 5 */
  /* Infinite loop */
  for(;;)
  {
	  if(osSemaphoreAcquire(s_id, 0) == osOK){
    	if(osMutexAcquire(m_id, osWaitForever) == osOK){
    		for(int i=0;i<10;i++){
    			HAL_GPIO_TogglePin(GPIOB, LED2_Pin);
    			osDelay(500);
    		}
    		HAL_GPIO_WritePin(GPIOB, LED2_Pin, GPIO_PIN_RESET);
    		osMutexRelease(m_id);
    	}
    }
	  if(osSemaphoreAcquire(s2_id, 0) == osOK){
		if(osMutexAcquire(m_id, osWaitForever) == osOK){
			for(int i=0;i<100;i++){
				HAL_GPIO_TogglePin(GPIOB, LED2_Pin);
				osDelay(50);
			}
			HAL_GPIO_WritePin(GPIOB, LED2_Pin, GPIO_PIN_RESET);
			osMutexRelease(m_id);
		}
	}
  }
  /* USER CODE END 5 */
}

void StartTask02(void *argument)
{
  /* USER CODE BEGIN StartTask02 */
  /* Infinite loop */
  for(;;)
  {
	  if(osSemaphoreAcquire(t_id, osWaitForever) == osOK){
		  if(osMutexAcquire(m_id, osWaitForever) == osOK){
	  			  for(int i=0;i<40;i++){
	  				  HAL_GPIO_TogglePin(GPIOB, LED2_Pin);
	  				  osDelay(50);
	  			  }
	  			  HAL_GPIO_WritePin(GPIOB, LED2_Pin, GPIO_PIN_RESET);
	  			  osMutexRelease(m_id);
		  }
	  }
  }
  /* USER CODE END StartTask02 */
}

void Error_Handler(void)
{
  __disable_irq();
  while (1)
  {
  }
}
